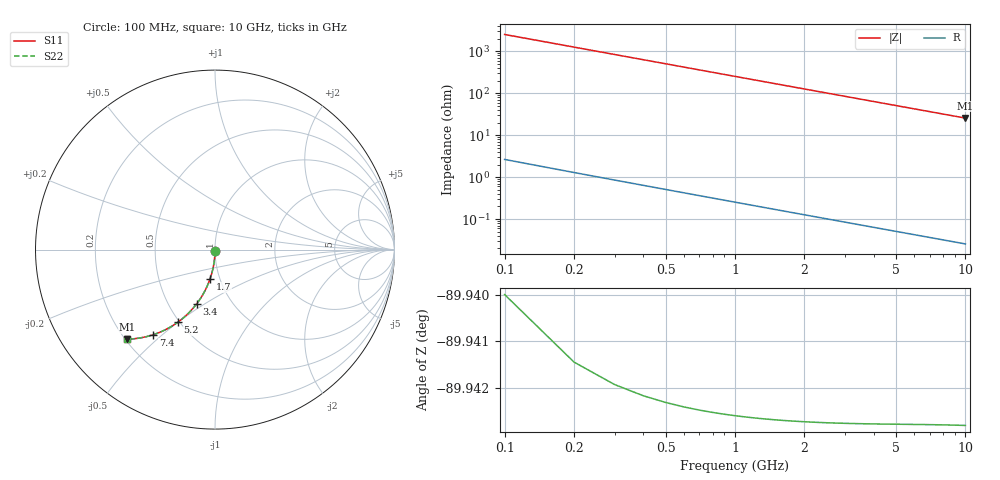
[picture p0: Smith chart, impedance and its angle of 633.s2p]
# Hz S RI R 50.00
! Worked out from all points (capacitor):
!   100 points, 100 MHz to 10 GHz, reference 50 ohm
!   read as one part in shunt: C = 631 fF near 100 MHz
!   lowest |Z| = 25.6 ohm at 10 GHz (marker M1)
!   S11 on the Smith chart (normalised r, x): 100 MHz: 1.00, -0.02; 1.7 GHz: 0.90, -0.30; 3.4 GHz: 0.69, -0.46; 5.2 GHz: 0.49, -0.50; 7.4 GHz: 0.32, -0.47; 10 GHz: 0.21, -0.40
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1e8  -0.000107 -0.0099  0.9999 -0.00991  0.9999 -0.00991  -0.000107 -0.0099
2e8  -0.000412 -0.0198  0.9996 -0.0198  0.9996 -0.0198  -0.000412 -0.0198
3e8  -0.000911 -0.0297  0.9991 -0.0297  0.9991 -0.0297  -0.000911 -0.0297
4e8  -0.00161 -0.0395  0.9984 -0.0396  0.9984 -0.0396  -0.00161 -0.0395
5e8  -0.00249 -0.0494  0.9975 -0.0494  0.9975 -0.0494  -0.00249 -0.0494
6e8  -0.00357 -0.0592  0.9964 -0.0592  0.9964 -0.0592  -0.00357 -0.0592
8e8  -0.00631 -0.0786  0.9937 -0.0787  0.9937 -0.0787  -0.00631 -0.0786
1.1e9  -0.0118 -0.1075  0.9882 -0.1076  0.9882 -0.1076  -0.0118 -0.1075
1.4e9  -0.0189 -0.1357  0.9811 -0.1358  0.9811 -0.1358  -0.0189 -0.1357
1.7e9  -0.0276 -0.1632  0.9724 -0.1634  0.9724 -0.1634  -0.0276 -0.1632
1.8e9  -0.0308 -0.1722  0.9692 -0.1724  0.9692 -0.1724  -0.0308 -0.1722
2.1e9  -0.0414 -0.1986  0.9586 -0.1988  0.9586 -0.1988  -0.0414 -0.1986
2.5e9  -0.0575 -0.2322  0.9425 -0.2324  0.9425 -0.2324  -0.0575 -0.2322
2.9e9  -0.0757 -0.2639  0.9243 -0.2642  0.9243 -0.2642  -0.0757 -0.2639
3.4e9  -0.101 -0.3006  0.899 -0.301  0.899 -0.301  -0.101 -0.3006
4.2e9  -0.1459 -0.3523  0.8541 -0.3527  0.8541 -0.3527  -0.1459 -0.3523
5.1e9  -0.2007 -0.3997  0.7993 -0.4003  0.7993 -0.4003  -0.2007 -0.3997
5.2e9  -0.2069 -0.4043  0.7931 -0.4049  0.7931 -0.4049  -0.2069 -0.4043
6.7e9  -0.3014 -0.458  0.6986 -0.4587  0.6986 -0.4587  -0.3014 -0.458
7.4e9  -0.3444 -0.4743  0.6556 -0.4751  0.6556 -0.4751  -0.3444 -0.4743
8.4e9  -0.4032 -0.4896  0.5968 -0.4905  0.5968 -0.4905  -0.4032 -0.4896
1e10  -0.4886 -0.4988  0.5114 -0.4999  0.5114 -0.4999  -0.4886 -0.4988
